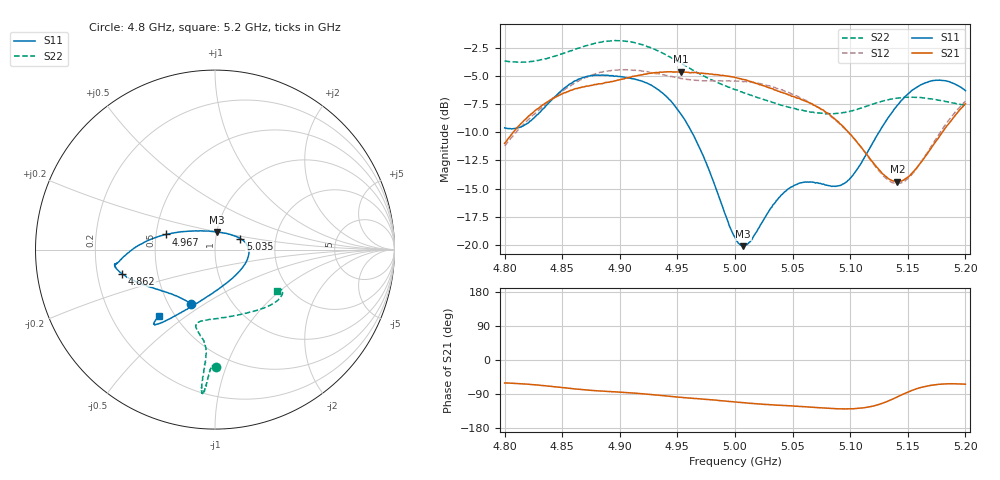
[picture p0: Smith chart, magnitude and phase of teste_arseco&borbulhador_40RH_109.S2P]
! Network Analyzer HP8722D
! Hewlett-Packard
! Data name: Linha & Wilkinson
! Saver's name: Rodrigo Anjos
! Comments: Teste da utilização de aquisição
! continua pelo VNA HP8722D
! Time and date: 15/4/2025 17:15
!  Frequency  S11  S21  S12  S22
# HZ  S  MA R 50
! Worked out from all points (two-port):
!   401 points, 4.8 GHz to 5.2 GHz, reference 50 ohm
!   highest |S21| = -4.64 dB at 4.953 GHz (marker M1); lowest = -14.4 dB at 5.141 GHz (marker M2)
!   |S21| within 3 dB of the highest: 4.832 GHz to 5.069 GHz (236.9 MHz wide, 4.79 % of centre); 5.198566 GHz to end of sweep
!   lowest |S11| = -20.1 dB at 5.007 GHz (marker M3), VSWR 1.22, Z = 50.1 + j9.92 ohm
!   |S11| at or under -10 dB: 4.962 GHz to 5.125 GHz (162.6 MHz wide, 3.22 % of centre)
!   |S22| runs from -8.4 to -1.9 dB; largest |S21 - S12| = 0.88
!   S11 on the Smith chart (normalised r, x): 4.8 GHz: 0.65, -0.44; 4.862 GHz: 0.31, -0.12; 4.967 GHz: 0.57, +0.10; 5.035 GHz: 1.32, +0.17; 5.2 GHz: 0.41, -0.40
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4.8e9  0.3305 -113.5  0.2818 -60.8  0.2744 -174.9  0.6543 -89.4
4.819e9  0.3439 -133.4  0.3641 -63.5  0.3525 -173.1  0.6477 -91.1
4.862e9  0.5352 -165.5  0.4935 -76.5  0.5258 -176.4  0.7398 -93.5
4.867e9  0.5494 -167.4  0.5004 -77.9  0.543 -177.3  0.7534 -93.7
4.898e9  0.5587 -171.9  0.5377 -84.5  0.5956 176.4  0.8046 -94.9
4.934e9  0.4854 -177.8  0.5807 -93.1  0.5733 172.0  0.7195 -95.6
4.953e9  0.3804 172.6  0.586 -98.4  0.5464 172.6  0.6402 -95.0
4.967e9  0.2849 162.7  0.5791 -101.9  0.5364 174.1  0.581 -94.9
5e9  0.1082 107.5  0.5524 -110.7  0.5339 176.4  0.4878 -99.2
5.007e9  0.0987 83.9  0.5416 -112.5  0.529 176.6  0.473 -100.9
5.014e9  0.1046 61.8  0.5295 -114.5  0.5271 176.3  0.4613 -102.4
5.035e9  0.1543 23.3  0.4856 -118.9  0.4981 175.1  0.4248 -103.8
5.05e9  0.1814 7.5  0.4558 -121.4  0.4651 174.6  0.4045 -100.4
5.067e9  0.1899 -11.0  0.4218 -124.5  0.4231 173.9  0.3881 -92.0
5.086e9  0.182 -41.3  0.3642 -128.1  0.3616 173.9  0.3813 -77.8
5.097e9  0.1904 -64.6  0.3219 -129.0  0.3209 174.4  0.3881 -68.6
5.134e9  0.3728 -115.9  0.1954 -107.0  0.192 -159.8  0.4415 -43.3
5.141e9  0.4159 -119.9  0.1904 -97.1  0.1875 -148.9  0.4476 -40.2
5.153e9  0.4814 -124.7  0.2061 -81.2  0.2039 -130.1  0.4517 -35.9
5.17e9  0.5326 -128.4  0.2669 -66.9  0.2719 -113.0  0.4444 -32.0
5.184e9  0.532 -129.7  0.3376 -62.9  0.3485 -107.1  0.4315 -31.0
5.2e9  0.483 -130.2  0.4223 -63.9  0.4333 -106.0  0.4154 -33.3
